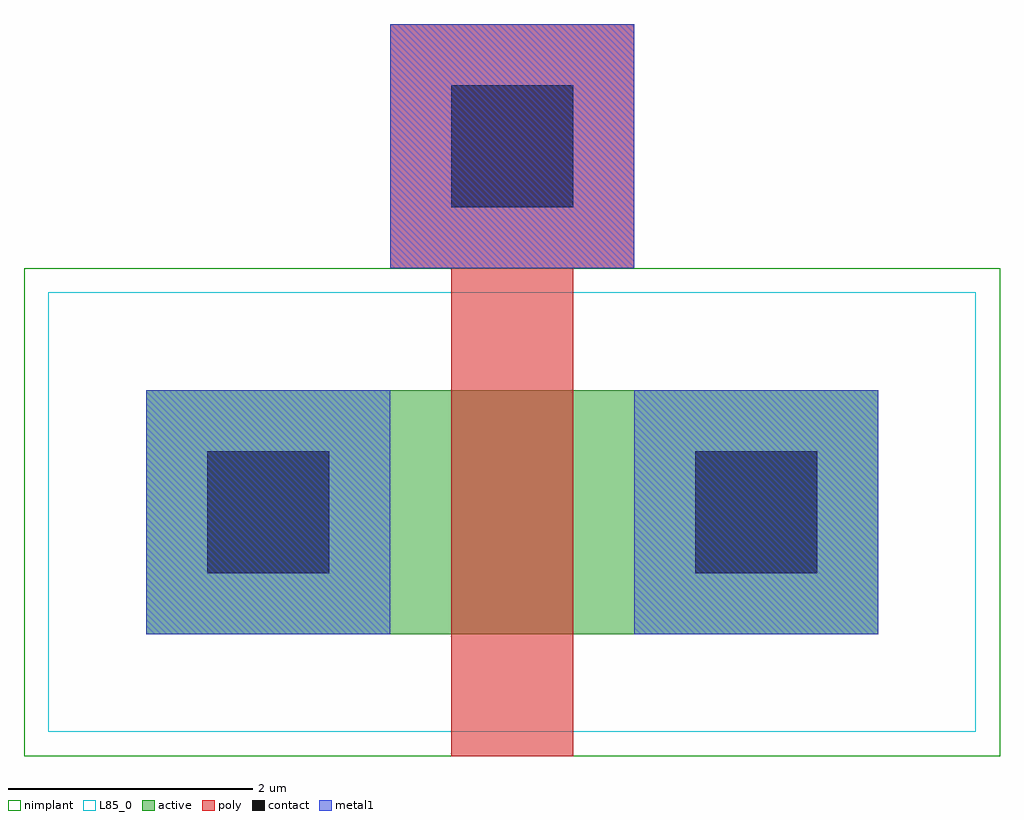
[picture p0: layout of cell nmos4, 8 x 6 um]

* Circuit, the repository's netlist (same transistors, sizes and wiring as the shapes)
* +++++++++++++++++++++++++++++++++++++++++++++++++++++++++ *
* CDL Netlist:                                              *
*                                                           *
* Cell Name  : nmos4                                        *
* Netlisted  : Thu Oct 21 10:49:28 2021                     *
* PVS Version: 16.15-s010 Fri Jun 28 22:24:07 PDT 2019      *
* +++++++++++++++++++++++++++++++++++++++++++++++++++++++++ *
*.LDD
*.DEVTMPLT 0 MN(nmos4) _nmos1v ndiff_conn(D) poly_conn(G) ndiff_conn(S) psubstrate(B)
*.DEVTMPLT 1 MP(pmos4) _pmos1v pdiff_conn(D) poly_conn(G) pdiff_conn(S) nwell_conn(B)

* +++++++++++++++++++++++++++++++++++++++++++++++++++++++++ *
* Sub cell: nmos4                                           *
* +++++++++++++++++++++++++++++++++++++++++++++++++++++++++ *
.subckt nmos4
** N=4 EP=0 FDC=1
M0 2 1 3 4 nmos4 L=1e-06 W=2e-06 AD=5e-12 AS=5e-12 PD=9e-06 PS=9e-06 fw=2e-06 sa=2e-06 sb=2e-06 $X=7000 $Y=2000 $dt=0
.ends nmos4

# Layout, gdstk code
import gdstk
lib = gdstk.Library(unit=1e-6, precision=5e-10)
def R(c, l, rs):  # rectangles x0, y0, x1, y1
    for r in rs: c.add(gdstk.rectangle(r[:2], r[2:], *l))
active = (1, 0)
poly = (3, 0)
nimplant = (4, 0)
contact = (6, 0)
metal1 = (7, 0)
L85_0 = (85, 0)

nmos4 = lib.new_cell('nmos4')
R(nmos4, active, [(1,1,7,3)])
R(nmos4, poly, [(3.5,0,4.5,4), (3.6,3.5,4.4,3.9), (3,4,5,6)])
R(nmos4, nimplant, [(0,0,8,4)])
R(nmos4, contact, [(1.5,1.5,2.5,2.5), (5.5,1.5,6.5,2.5), (3.5,4.5,4.5,5.5)])
R(nmos4, metal1, [(1,1,3,3), (5,1,7,3), (1.3,1.3,2.7,2.7), (5.3,1.3,6.7,2.7), (3,4,5,6), (3.3,4.3,4.7,5.7)])
R(nmos4, L85_0, [(0.2,0.2,7.8,3.8)])

lib.write_gds('nmos4.gds')
